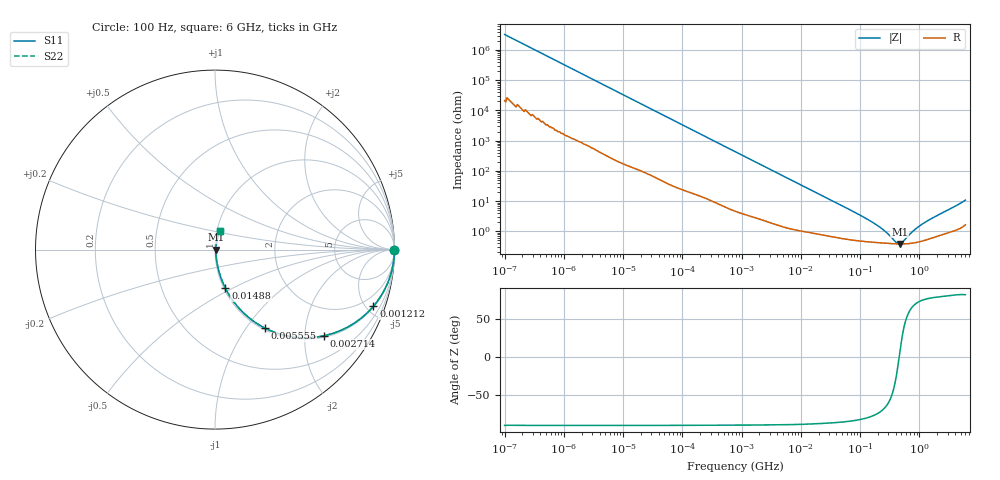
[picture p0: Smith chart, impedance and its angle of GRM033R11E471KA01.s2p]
!Murata Part Number: GRM033R11E471KA01
!These Parameters are Measured in Series Mode Connection
!Data Generated on Mar 30, 2021
!  o--ll--o
!Port1  Port2
!  o------o
!Operation Temp=25[degC], DC Bias Voltage=0[V]
!Freq. Start=100[Hz] Stop=6[GHz] 401[Steps]
# Hz S RI R 50
!Freq.(Hz) S11(Real) S11(Imag) S21(Real) S21(Imag) S12(Real) S12(Imag) S22(Real) S22(Imag)
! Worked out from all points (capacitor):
!   401 points, 100 Hz to 6 GHz, reference 50 ohm
!   read as one part in series: C = 489 pF near 109 Hz
!   lowest |Z| = 386 mohm at 467.5 MHz (marker M1)
!   series resonance near 457.3 MHz, so ESL is about 250 pH
!   S11 on the Smith chart (normalised r, x): 100 Hz: open; 1.212 MHz: 1.07, -5.56; 2.714 MHz: 1.04, -2.50; 5.555 MHz: 1.03, -1.23; 14.88 MHz: 1.02, -0.46; 6 GHz: 1.03, +0.21
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100  1 -3.08e-05  2e-07 3.08e-05  2e-07 3.08e-05  1 -3.08e-05
335  1 -0.000103  6e-07 0.000103  6e-07 0.000103  1 -0.000103
2008  1 -0.000612  3.6e-06 0.000612  3.6e-06 0.000612  1 -0.000612
40335  0.9998 -0.0122  0.000226 0.0122  0.000226 0.0122  0.9998 -0.0122
241822  0.9941 -0.0719  0.00586 0.0719  0.00586 0.0719  0.9941 -0.0719
774597  0.9476 -0.2176  0.0524 0.2176  0.0524 0.2176  0.9476 -0.2176
1212075  0.8826 -0.3158  0.1174 0.3158  0.1174 0.3158  0.8826 -0.3158
2713602  0.6083 -0.4799  0.3917 0.4799  0.3917 0.4799  0.6083 -0.4799
5554849  0.2784 -0.4375  0.7216 0.4375  0.7216 0.4375  0.2784 -0.4375
8692127  0.1412 -0.3348  0.8588 0.3348  0.8588 0.3348  0.1412 -0.3348
1.487547e7  0.0584 -0.2161  0.9416 0.2161  0.9416 0.2161  0.0584 -0.2161
1.555665e7  0.0543 -0.2077  0.9457 0.2077  0.9457 0.2077  0.0543 -0.2077
3.80911e7  0.0144 -0.0896  0.9856 0.0896  0.9856 0.0896  0.0144 -0.0896
1.275994e8  0.0052 -0.0257  0.9948 0.0257  0.9948 0.0257  0.0052 -0.0257
2.183701e8  0.00432 -0.0128  0.9957 0.0128  0.9957 0.0128  0.00432 -0.0128
3.124326e8  0.004 -0.00625  0.996 0.00625  0.996 0.00625  0.004 -0.00625
4.087225e8  0.00385 -0.00182  0.9961 0.00182  0.9961 0.00182  0.00385 -0.00182
4.674818e8  0.00383 0.000361  0.9962 -0.000361  0.9962 -0.000361  0.00383 0.000361
5.346885e8  0.00384 0.00256  0.9962 -0.00256  0.9962 -0.00256  0.00384 0.00256
8.366708e8  0.00428 0.0105  0.9957 -0.0105  0.9957 -0.0105  0.00428 0.0105
1.144649e9  0.00509 0.017  0.9949 -0.017  0.9949 -0.017  0.00509 0.017
6e9  0.027 0.1022  0.973 -0.1022  0.973 -0.1022  0.027 0.1022
